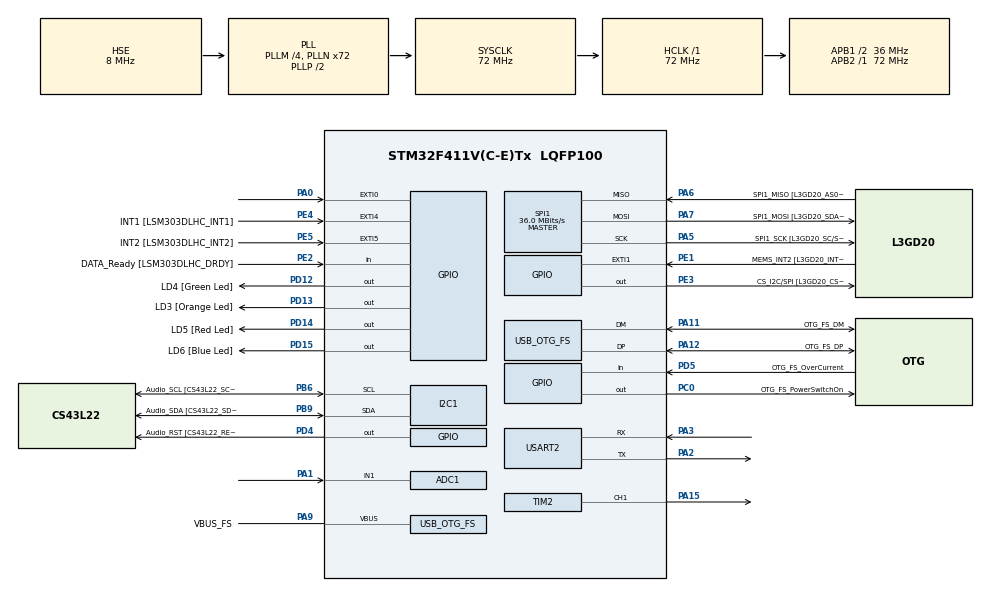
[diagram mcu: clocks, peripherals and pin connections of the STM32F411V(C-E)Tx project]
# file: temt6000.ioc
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ADC1.Channel-2\#ChannelRegularConversion=ADC_CHANNEL_1
ADC1.DMAContinuousRequests=ENABLE
ADC1.NbrOfConversion=1
ADC1.NbrOfConversionFlag=1
ADC1.Rank-2\#ChannelRegularConversion=1
ADC1.SamplingTime-2\#ChannelRegularConversion=ADC_SAMPLETIME_3CYCLES
ADC1.master=1
Dma.ADC1.0.Direction=DMA_PERIPH_TO_MEMORY
Dma.ADC1.0.FIFOMode=DMA_FIFOMODE_DISABLE
Dma.ADC1.0.Instance=DMA2_Stream0
Dma.ADC1.0.MemDataAlignment=DMA_MDATAALIGN_HALFWORD
Dma.ADC1.0.MemInc=DMA_MINC_ENABLE
Dma.ADC1.0.Mode=DMA_NORMAL
Dma.ADC1.0.PeriphDataAlignment=DMA_PDATAALIGN_HALFWORD
Dma.ADC1.0.PeriphInc=DMA_PINC_DISABLE
Dma.ADC1.0.Priority=DMA_PRIORITY_LOW
Dma.Request0=ADC1
Mcu.Family=STM32F4
Mcu.Name=STM32F411V(C-E)Tx
Mcu.Package=LQFP100
NVIC.ADC_IRQn=true\:0\:0\:false\:false\:true\:true\:true
NVIC.DMA2_Stream0_IRQn=true\:0\:0\:false\:false\:true\:false\:true
NVIC.OTG_FS_IRQn=true\:0\:0\:false\:false\:true\:true\:true
NVIC.PriorityGroup=NVIC_PRIORITYGROUP_0
PA0-WKUP.GPIO_ModeDefaultEXTI=GPIO_MODE_EVT_RISING
PA0-WKUP.Signal=GPXTI0
PA1.Signal=ADCx_IN1
PA10.GPIO_Label=OTG_FS_ID
PA10.Signal=USB_OTG_FS_ID
PA11.GPIO_Label=OTG_FS_DM
PA11.Mode=Host_Only
PA11.Signal=USB_OTG_FS_DM
PA12.GPIO_Label=OTG_FS_DP
PA12.Mode=Host_Only
PA12.Signal=USB_OTG_FS_DP
PA13.GPIO_Label=SWDIO
PA13.Mode=Serial_Wire
PA13.Signal=SYS_JTMS-SWDIO
PA14.GPIO_Label=SWCLK
PA14.Mode=Serial_Wire
PA14.Signal=SYS_JTCK-SWCLK
PA15.Signal=S_TIM2_CH1_ETR
PA2.Mode=Asynchronous
PA2.Signal=USART2_TX
PA3.Mode=Asynchronous
PA3.Signal=USART2_RX
PA4.GPIO_Label=I2S3_WS [CS43L22_LRCK]
PA4.GPIO_Mode=GPIO_MODE_AF_PP
PA4.GPIO_PuPd=GPIO_NOPULL
PA4.GPIO_Speed=GPIO_SPEED_FREQ_LOW
PA4.Signal=I2S3_WS
PA5.GPIO_Label=SPI1_SCK [L3GD20_SC/SPC]
PA5.Mode=Full_Duplex_Master
PA5.Signal=SPI1_SCK
PA6.GPIO_Label=SPI1_MISO [L3GD20_AS0/SDO]
PA6.Mode=Full_Duplex_Master
PA6.Signal=SPI1_MISO
PA7.GPIO_Label=SPI1_MOSI [L3GD20_SDA/SDI/SDO]
PA7.Mode=Full_Duplex_Master
PA7.Signal=SPI1_MOSI
PA9.GPIO_Label=VBUS_FS
PA9.Mode=Activate_VBUS
PA9.Signal=USB_OTG_FS_VBUS
PB10.GPIO_Label=CLK_IN [MP45DT02_CLK]
PB10.Signal=I2S2_CK
PB12.Signal=I2S2_WS
PB3.GPIO_Label=SWO
PB3.Signal=SYS_JTDO-SWO
PB6.GPIO_Label=Audio_SCL [CS43L22_SCL]
PB6.GPIO_Mode=GPIO_MODE_AF_OD
PB6.GPIO_Pu=GPIO_PULLUP
PB6.GPIO_PuPd=GPIO_NOPULL
PB6.GPIO_Speed=GPIO_SPEED_FREQ_LOW
PB6.Mode=I2C
PB6.Signal=I2C1_SCL
PB9.GPIO_Label=Audio_SDA [CS43L22_SDA]
PB9.GPIO_Mode=GPIO_MODE_AF_OD
PB9.GPIO_Pu=GPIO_PULLUP
PB9.GPIO_PuPd=GPIO_NOPULL
PB9.GPIO_Speed=GPIO_SPEED_FREQ_LOW
PB9.Mode=I2C
PB9.Signal=I2C1_SDA
PC0.GPIO_Label=OTG_FS_PowerSwitchOn
PC0.PinState=GPIO_PIN_SET
PC0.Signal=GPIO_Output
PC10.GPIO_Label=I2S3_SCK [CS43L22_SCLK]
PC10.GPIO_Mode=GPIO_MODE_AF_PP
PC10.GPIO_PuPd=GPIO_NOPULL
PC10.GPIO_Speed=GPIO_SPEED_FREQ_LOW
PC10.Signal=I2S3_CK
PC12.GPIO_Label=I2S3_SD [CS43L22_SDIN]
PC12.GPIO_Mode=GPIO_MODE_AF_PP
PC12.GPIO_PuPd=GPIO_NOPULL
PC12.GPIO_Speed=GPIO_SPEED_FREQ_LOW
PC12.Signal=I2S3_SD
PC14-OSC32_IN.GPIO_Label=PC14-OSC32_IN
PC14-OSC32_IN.Mode=LSE-External-Oscillator
PC14-OSC32_IN.Signal=RCC_OSC32_IN
PC15-OSC32_OUT.GPIO_Label=PC15-OSC32_OUT
PC15-OSC32_OUT.Mode=LSE-External-Oscillator
PC15-OSC32_OUT.Signal=RCC_OSC32_OUT
PC3.GPIO_Label=PDM_OUT [MP45DT02_DOUT]
PC3.Signal=I2S2_SD
PC7.GPIO_Label=I2S3_MCK [CS43L22_MCLK]
PC7.GPIO_Mode=GPIO_MODE_AF_PP
PC7.GPIO_PuPd=GPIO_NOPULL
PC7.GPIO_Speed=GPIO_SPEED_FREQ_LOW
PC7.Signal=I2S3_MCK
PD12.GPIO_Label=LD4 [Green Led]
PD12.GPIO_PuPd=GPIO_NOPULL
PD12.GPIO_Speed=GPIO_SPEED_FREQ_LOW
PD12.Signal=GPIO_Output
PD13.GPIO_Label=LD3 [Orange Led]
PD13.GPIO_PuPd=GPIO_NOPULL
PD13.GPIO_Speed=GPIO_SPEED_FREQ_LOW
PD13.Signal=GPIO_Output
PD14.GPIO_Label=LD5 [Red Led]
PD14.GPIO_PuPd=GPIO_NOPULL
PD14.GPIO_Speed=GPIO_SPEED_FREQ_LOW
PD14.Signal=GPIO_Output
PD15.GPIO_Label=LD6 [Blue Led]
PD15.GPIO_PuPd=GPIO_NOPULL
PD15.GPIO_Speed=GPIO_SPEED_FREQ_LOW
PD15.Signal=GPIO_Output
PD4.GPIO_Label=Audio_RST [CS43L22_RESET]
PD4.Signal=GPIO_Output
PD5.GPIO_Label=OTG_FS_OverCurrent
PD5.Signal=GPIO_Input
PE1.GPIO_Label=MEMS_INT2 [L3GD20_INT2]
PE1.GPIO_ModeDefaultEXTI=GPIO_MODE_EVT_RISING
PE1.Signal=GPXTI1
PE2.GPIO_Label=DATA_Ready [LSM303DLHC_DRDY]
PE2.Signal=GPIO_Input
PE3.GPIO_Label=CS_I2C/SPI [L3GD20_CS_I2C/SPI]
PE3.Signal=GPIO_Output
PE4.GPIO_Label=INT1 [LSM303DLHC_INT1]
PE4.GPIO_ModeDefaultEXTI=GPIO_MODE_EVT_RISING
PE4.Signal=GPXTI4
PE5.GPIO_Label=INT2 [LSM303DLHC_INT2]
PE5.GPIO_ModeDefaultEXTI=GPIO_MODE_EVT_RISING
PE5.Signal=GPXTI5
PH0\ -\ OSC_IN.GPIO_Label=PH0-OSC_IN
PH0\ -\ OSC_IN.Mode=HSE-External-Oscillator
PH0\ -\ OSC_IN.Signal=RCC_OSC_IN
PH1\ -\ OSC_OUT.GPIO_Label=PH1-OSC_OUT
PH1\ -\ OSC_OUT.Mode=HSE-External-Oscillator
PH1\ -\ OSC_OUT.Signal=RCC_OSC_OUT
ProjectManager.HeapSize=0x200
ProjectManager.StackSize=0x400
ProjectManager.TargetToolchain=STM32CubeIDE
RCC.48MHZClocksFreq_Value=48000000
RCC.AHBFreq_Value=72000000
RCC.APB1CLKDivider=RCC_HCLK_DIV2
RCC.APB1Freq_Value=36000000
RCC.APB1TimFreq_Value=72000000
RCC.APB2Freq_Value=72000000
RCC.APB2TimFreq_Value=72000000
RCC.CortexFreq_Value=72000000
RCC.HCLKFreq_Value=72000000
RCC.HSE_VALUE=8000000
RCC.HSI_VALUE=16000000
RCC.PLLI2SM=5
RCC.PLLI2SN=200
RCC.PLLM=4
RCC.PLLN=72
RCC.PLLQ=3
RCC.SYSCLKFreq_VALUE=72000000
RCC.SYSCLKSource=RCC_SYSCLKSOURCE_PLLCLK
RCC.VCOOutputFreq_Value=144000000
SH.ADCx_IN1.0=ADC1_IN1,IN1
SH.S_TIM2_CH1_ETR.0=TIM2_CH1,PWM Generation1 CH1
SPI1.BaudRatePrescaler=SPI_BAUDRATEPRESCALER_2
SPI1.CalculateBaudRate=36.0 MBits/s
SPI1.Direction=SPI_DIRECTION_2LINES
SPI1.Mode=SPI_MODE_MASTER
SPI1.VirtualType=VM_MASTER
TIM2.AutoReloadPreload=TIM_AUTORELOAD_PRELOAD_ENABLE
TIM2.Channel-PWM\ Generation1\ CH1=TIM_CHANNEL_1
TIM2.Period=65535
USART2.Parity=PARITY_NONE
USART2.VirtualMode=VM_ASYNC
USB_HOST.BSP.number=1
USB_HOST.USBH_HandleTypeDef=hUsbHostFS
USB_HOST.VirtualModeFS=Cdc
USB_HOST0.BSP.STBoard=false
USB_HOST0.BSP.api=Unknown
USB_HOST0.BSP.i2caddr=0
USB_HOST0.BSP.i2creg=0
USB_HOST0.BSP.instance=PC0
USB_HOST0.BSP.ip=GPIO
USB_HOST0.BSP.mode=Output
USB_HOST0.BSP.name=Drive_VBUS_FS
USB_HOST0.BSP.solution=PC0
USB_OTG_FS.VirtualMode=Host_Only
USB_OTG_FS.phy_itface=HCD_PHY_EMBEDDED
VP_TIM2_VS_ClockSourceINT.Mode=Internal
VP_USB_HOST_VS_USB_HOST_CDC_FS.Mode=CDC_FS
board=STM32F411E-DISCO

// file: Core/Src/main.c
/* USER CODE BEGIN Header */
/**
  ******************************************************************************
  * @file           : main.c
  * @brief          : Main program body
  ******************************************************************************
  * @attention
  *
  * <h2><center>&copy; Copyright (c) 2021 STMicroelectronics.
  * All rights reserved.</center></h2>
  *
  * This software component is licensed by ST under Ultimate Liberty license
  * SLA0044, the "License"; You may not use this file except in compliance with
  * the License. You may obtain a copy of the License at:
  *                             www.st.com/SLA0044
  *
  ******************************************************************************
  */
/* USER CODE END Header */
#include "main.h"
#include "adc.h"
#include "dma.h"
#include "i2c.h"
#include "spi.h"
#include "tim.h"
#include "usart.h"
#include "usb_host.h"
#include "gpio.h"

/* USER CODE BEGIN Includes */
#include "temt6000.h"
#include <stdio.h>
#include <stdint.h>
#include <stdlib.h>
/* USER CODE END Includes */

/* USER CODE BEGIN PV */
float TEMT6000_lux;
/* USER CODE END PV */

void SystemClock_Config(void);
void MX_USB_HOST_Process(void);

int main(void)
{

  /* MCU Configuration--------------------------------------------------------*/

  /* Reset of all peripherals, Initializes the Flash interface and the Systick. */
  HAL_Init();

  /* Configure the system clock */
  SystemClock_Config();

  /* Initialize all configured peripherals */
  MX_GPIO_Init();
  MX_I2C1_Init();
  MX_SPI1_Init();
  MX_DMA_Init();
  MX_ADC1_Init();
  MX_USB_HOST_Init();
  MX_TIM2_Init();
  MX_USART2_UART_Init();
  /* USER CODE BEGIN 2 */
  TEMT6000_Init(&hadc1);
  /* USER CODE END 2 */

  /* Infinite loop */
  /* USER CODE BEGIN WHILE */
  char buffer[40];
  uint8_t size;
  while (1)
  {
	  HAL_GPIO_WritePin(TEMT600_ADC_IN_GPIO_Port, TEMT600_ADC_IN_Pin, 1);

	  if(TEMT6000_OK == TEMT6000_ReadLight(&TEMT6000_lux))
	  {
		  HAL_GPIO_WritePin(TEMT600_ADC_IN_GPIO_Port, TEMT600_ADC_IN_Pin, 0);
		  size = sprintf(buffer, "TEMT6000 Lux: %.2f\n\r\n\r", TEMT6000_lux);
	  	  HAL_UART_Transmit(&huart2, (uint8_t*)buffer, size, 100);
	  }
	  else{
		  HAL_UART_Transmit(&huart2, "ERROR TEMT6000", 15, 100);
	  }
//	  if(HAL_UART_Transmit(&huart2, (uint8_t *) "TEST ", 6, 100) == HAL_OK){
//		  HAL_GPIO_TogglePin(LD3_GPIO_Port, LD3_Pin);
//		  HAL_Delay(100);
//	  };

	  HAL_Delay(200);
    /* USER CODE END WHILE */
    MX_USB_HOST_Process();

  }
}

void SystemClock_Config(void)
{
  RCC_OscInitTypeDef RCC_OscInitStruct = {0};
  RCC_ClkInitTypeDef RCC_ClkInitStruct = {0};

  /** Configure the main internal regulator output voltage
  */
  __HAL_RCC_PWR_CLK_ENABLE();
  __HAL_PWR_VOLTAGESCALING_CONFIG(PWR_REGULATOR_VOLTAGE_SCALE1);
  /** Initializes the RCC Oscillators according to the specified parameters
  * in the RCC_OscInitTypeDef structure.
  */
  RCC_OscInitStruct.OscillatorType = RCC_OSCILLATORTYPE_HSE;
  RCC_OscInitStruct.HSEState = RCC_HSE_ON;
  RCC_OscInitStruct.PLL.PLLState = RCC_PLL_ON;
  RCC_OscInitStruct.PLL.PLLSource = RCC_PLLSOURCE_HSE;
  RCC_OscInitStruct.PLL.PLLM = 4;
  RCC_OscInitStruct.PLL.PLLN = 72;
  RCC_OscInitStruct.PLL.PLLP = RCC_PLLP_DIV2;
  RCC_OscInitStruct.PLL.PLLQ = 3;
  if (HAL_RCC_OscConfig(&RCC_OscInitStruct) != HAL_OK)
  {
    Error_Handler();
  }
  /** Initializes the CPU, AHB and APB buses clocks
  */
  RCC_ClkInitStruct.ClockType = RCC_CLOCKTYPE_HCLK|RCC_CLOCKTYPE_SYSCLK
                              |RCC_CLOCKTYPE_PCLK1|RCC_CLOCKTYPE_PCLK2;
  RCC_ClkInitStruct.SYSCLKSource = RCC_SYSCLKSOURCE_PLLCLK;
  RCC_ClkInitStruct.AHBCLKDivider = RCC_SYSCLK_DIV1;
  RCC_ClkInitStruct.APB1CLKDivider = RCC_HCLK_DIV2;
  RCC_ClkInitStruct.APB2CLKDivider = RCC_HCLK_DIV1;

  if (HAL_RCC_ClockConfig(&RCC_ClkInitStruct, FLASH_LATENCY_2) != HAL_OK)
  {
    Error_Handler();
  }
}

void Error_Handler(void)
{
  __disable_irq();
  while (1)
  {
  }
}

/************************ (C) COPYRIGHT STMicroelectronics *****END OF FILE****/
